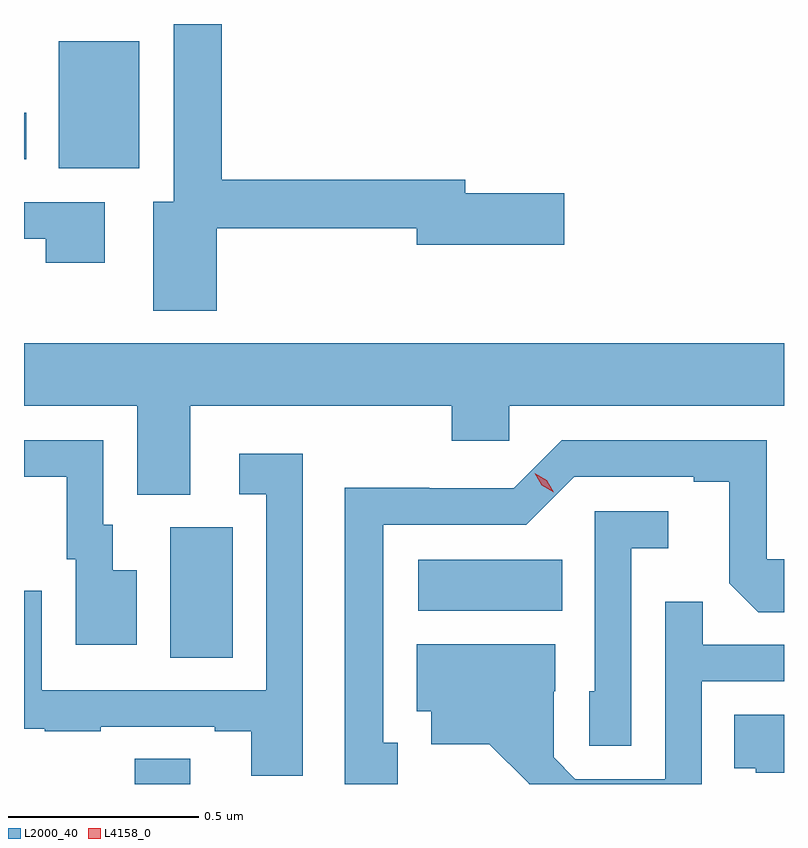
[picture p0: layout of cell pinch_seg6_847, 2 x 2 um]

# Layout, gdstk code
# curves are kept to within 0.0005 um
import gdstk
lib = gdstk.Library(unit=1e-6, precision=1e-09)
def R(c, l, rs):  # rectangles x0, y0, x1, y1
    for r in rs: c.add(gdstk.rectangle(r[:2], r[2:], *l))
def P(c, l, *ps):  # polygons
    for p in ps: c.add(gdstk.Polygon(p, *l))
L2000_40 = (2000, 40)
L4158_0 = (4158, 0)

pinch_seg6_847 = lib.new_cell('pinch_seg6_847')
R(pinch_seg6_847, L2000_40, [(133.078,975.644,133.225,975.71), (133.172,975.976,133.336,976.32), (133.824,976.1,134.204,976.234), (132.878,977.264,133.09,977.599), (132.787,977.288,132.793,977.41)])
P(pinch_seg6_847, L2000_40, [(133.294,977.106),(133.82,977.106),(133.82,977.063),(134.209,977.063),(134.209,977.198),(133.948,977.198),(133.948,977.234),(133.307,977.234),(133.307,977.644),(133.181,977.644),(133.181,977.176),(133.127,977.176),(133.127,976.89),(133.294,976.89)],
  [(133,977.175),(132.787,977.175),(132.787,977.079),(132.844,977.079),(132.844,977.016),(133,977.016)],
  [(133.225,976.64),(133.913,976.64),(133.913,976.547),(134.064,976.547),(134.064,976.64),(134.787,976.64),(134.787,976.804),(132.787,976.804),(132.787,976.64),(133.085,976.64),(133.085,976.405),(133.225,976.405)],
  [(133.084,976.207),(133.021,976.207),(133.021,976.326),(132.996,976.326),(132.996,976.548),(132.787,976.548),(132.787,976.452),(132.899,976.452),(132.899,976.236),(132.923,976.236),(132.923,976.011),(133.084,976.011)],
  [(133.771,975.753),(133.732,975.753),(133.732,976.326),(134.109,976.326),(134.235,976.452),(134.549,976.452),(134.549,976.44),(134.643,976.44),(134.643,976.172),(134.719,976.096),(134.787,976.096),(134.787,976.236),(134.742,976.236),(134.742,976.548),(134.202,976.548),(134.076,976.422),(133.854,976.422),(133.854,976.424),(133.631,976.424),(133.631,975.644),(133.771,975.644)],
  [(133.521,976.513),(133.353,976.513),(133.353,976.407),(133.425,976.407),(133.425,975.891),(132.834,975.891),(132.834,976.153),(132.787,976.153),(132.787,975.789),(132.841,975.789),(132.841,975.783),(132.989,975.783),(132.989,975.795),(133.289,975.795),(133.289,975.783),(133.385,975.783),(133.385,975.666),(133.521,975.666)],
  [(134.385,976.265),(134.482,976.265),(134.482,976.362),(134.289,976.362),(134.289,975.888),(134.274,975.888),(134.274,975.745),(134.385,975.745)],
  [(134.571,975.915),(134.787,975.915),(134.787,976.011),(134.573,976.011),(134.573,976.124),(134.475,976.124),(134.475,975.657),(134.238,975.657),(134.181,975.714),(134.181,975.888),(134.185,975.888),(134.185,976.012),(133.82,976.012),(133.82,975.836),(133.859,975.836),(133.859,975.749),(134.011,975.749),(134.117,975.644),(134.571,975.644)],
  [(134.787,975.826),(134.656,975.826),(134.656,975.686),(134.712,975.686),(134.712,975.674),(134.787,975.674)])
P(pinch_seg6_847, L4158_0, [(134.181,976.412),(134.149,976.43),(134.131,976.462),(134.131,976.462),(134.131,976.462),(134.163,976.444),(134.181,976.412),(134.181,976.412)])

lib.write_gds('pinch_seg6_847.gds')
